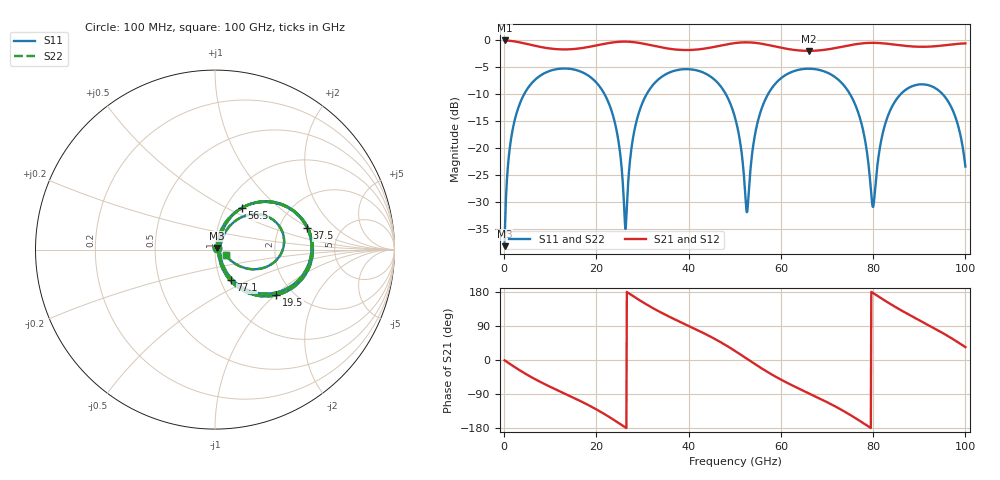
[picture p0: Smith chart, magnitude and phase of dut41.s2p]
! Touchstone file exported from HFSS 2026.1.0
!  File:  C:/ffzhzh/LocalFiles/Ansys_Project_Files/temp_train_TSV_RDL_41_1783619180_26216.aedt
!  Generated:  01:55:24 AM Jul 10, 2026
!  Design:  TSV_RDL
!  Project:  temp_train_TSV_RDL_41_1783619180_26216
! Variables:
!  h_bsmrdl = 4.44um
!  h_ox = 20um
!  h_rdl = 5um
!  h_sub = 83.69um
!  h_tmrdl = 4.63um
!  h_tsv = 83.69um
!  h_via = 3um
!  l_bsmrdl = 213.24um
!  l_sub = 2193.61um
!  l_tmrdl = 255.78um
!  m_sub = 200um
!  pitch = 53.98um
!  r_tsv = 5.67um
!  s_tmrdl = 10um
!  w_bsmrdl = 19.79um
!  w_sub = 500um
!  w_tmrdl = 23.8um
!  x_tsv_center1 = 267.68um
!  x_tsv_center2 = 500.71um
!  x_tsv_center3 = 780.29um
!  x_tsv_center4 = 1013.32um
!  x_tsv_center5 = 1292.9um
!  x_tsv_center6 = 1525.93um
# GHz S MA R 50.000000
! Terminal data exported
! Port[1] = TM_RDL1_1_T1
! Port[2] = TM_RDL5_1_T1
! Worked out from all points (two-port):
!   1000 points, 100 MHz to 100 GHz, reference 50 ohm
!   highest |S21| = -0.08 dB at 100 MHz (marker M1); lowest = -2.0 dB at 66 GHz (marker M2)
!   |S21| within 3 dB of the highest: start of sweep to end of sweep
!   lowest |S11| = -38.1 dB at 100 MHz (marker M3), VSWR 1.03, Z = 50.9 + j0.875 ohm
!   |S11| at or under -10 dB: 21.75 GHz to 30.9 GHz (9.15 GHz wide, 34.8 % of centre); 48.06 GHz to 57.22 GHz (9.166 GHz wide, 17.4 % of centre); 74.98 GHz to 85.98 GHz (11 GHz wide, 13.7 % of centre) (the widest 3 of 5)
!   |S22| runs from -38.1 to -5.3 dB; largest |S21 - S12| = 1.1e-13
!   S11 on the Smith chart (normalised r, x): 100 MHz: 1.02, +0.02; 19.5 GHz: 1.64, -1.02; 37.5 GHz: 2.88, +0.95; 56.5 GHz: 1.19, +0.59; 77.1 GHz: 1.12, -0.40; 100 GHz: 1.12, -0.07
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0.1  0.01241 43.8  0.9911 -0.9  0.9911 -0.9  0.01241 43.8
! Gamma 0 0 0 0
! Port Impedance 50 0 50 0
1.5  0.1222 72.2  0.981 -12.4  0.981 -12.4  0.1222 72.2
4.1  0.3018 54.4  0.937 -32.5  0.937 -32.5  0.3018 54.4
16.8  0.5067 -20.6  0.8419 -110.0  0.8419 -110.0  0.5067 -20.6
19.5  0.4248 -36.8  0.8826 -127.0  0.8826 -127.0  0.4249 -36.9
23.9  0.1797 -64.8  0.9544 -159.0  0.9544 -159.0  0.1796 -64.9
26.3  0.01792 -0.0  0.9669 -178.1  0.9669 -178.1  0.01747 -0.1
28.7  0.1782 66.3  0.9487 162.9  0.9487 162.9  0.1782 66.4
33.4  0.431 36.8  0.8665 129.2  0.8665 129.2  0.431 36.8
37.5  0.5272 13.0  0.8151 104.3  0.8151 104.3  0.5272 13.0
45.4  0.4376 -31.5  0.8616 57.4  0.8616 57.4  0.4376 -31.6
50.1  0.1887 -60.1  0.9379 23.5  0.9379 23.5  0.1887 -60.1
52.7  0.02592 12.9  0.9524 2.7  0.9524 2.7  0.0258 13.0
54.4  0.1347 67.7  0.9424 -10.9  0.9424 -10.9  0.1347 67.7
56.5  0.2744 57.4  0.9128 -27.2  0.9128 -27.2  0.2744 57.4
66  0.543 1.7  0.7942 -87.7  0.7942 -87.7  0.543 1.7
66.7  0.5418 -2.1  0.7949 -91.7  0.7949 -91.7  0.5418 -2.1
77.1  0.1924 -62.8  0.926 -160.6  0.926 -160.6  0.1923 -63.2
80  0.02862 1.9  0.9423 176.6  0.9423 176.6  0.02755 1.9
83.4  0.2089 53.3  0.921 150.3  0.921 150.3  0.2087 53.5
93.6  0.3564 -7.3  0.8775 81.4  0.8775 81.4  0.3564 -7.3
100  0.06754 -27.7  0.9312 34.0  0.9312 34.0  0.06705 -28.5
